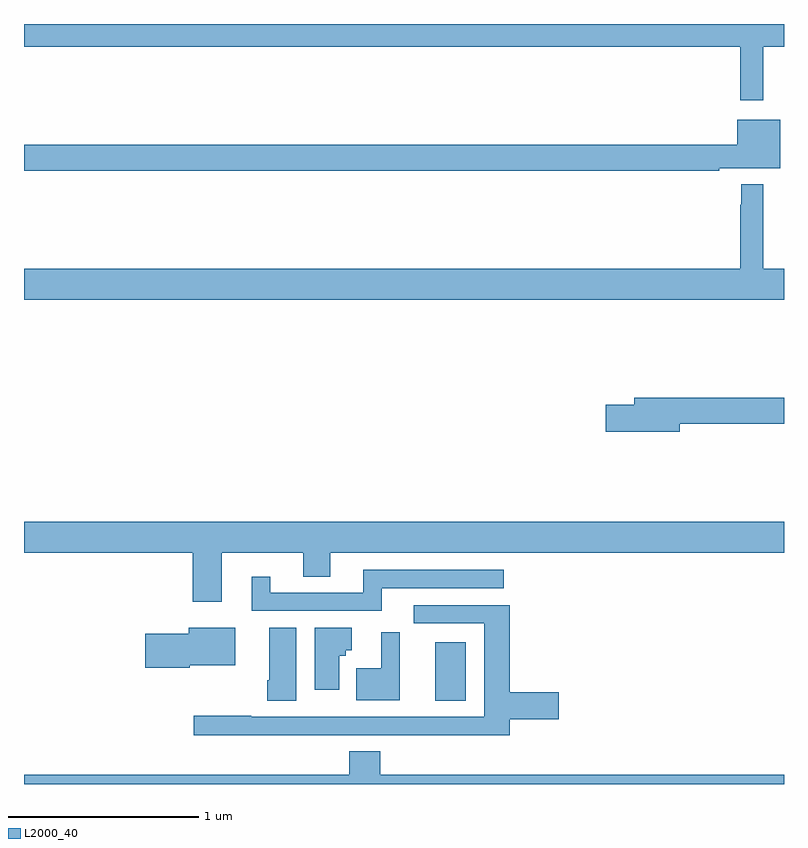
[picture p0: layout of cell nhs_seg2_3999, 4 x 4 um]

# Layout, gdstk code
import gdstk
lib = gdstk.Library(unit=1e-6, precision=1e-09)
def R(c, l, rs):  # rectangles x0, y0, x1, y1
    for r in rs: c.add(gdstk.rectangle(r[:2], r[2:], *l))
def P(c, l, *ps):  # polygons
    for p in ps: c.add(gdstk.Polygon(p, *l))
L2000_40 = (2000, 40)

nhs_seg2_3999 = lib.new_cell('nhs_seg2_3999')
R(nhs_seg2_3999, L2000_40, [(327.164,600.238,327.325,600.547)])
P(nhs_seg2_3999, L2000_40, [(328.891,603.68),(329,603.68),(329,603.8),(325,603.8),(325,603.68),(328.77,603.68),(328.77,603.399),(328.891,603.399)],
  [(328.658,603.041),(328.981,603.041),(328.981,603.295),(328.754,603.295),(328.754,603.164),(325,603.164),(325,603.028),(328.658,603.028)],
  [(329,602.512),(328.891,602.512),(328.891,602.956),(328.776,602.956),(328.776,602.849),(328.77,602.849),(328.77,602.512),(325,602.512),(325,602.348),(329,602.348)],
  [(328.45,601.696),(329,601.696),(329,601.832),(328.211,601.832),(328.211,601.796),(328.062,601.796),(328.062,601.654),(328.45,601.654)],
  [(326.041,601.016),(326.471,601.016),(326.471,600.892),(326.611,600.892),(326.611,601.016),(329,601.016),(329,601.18),(325,601.18),(325,601.016),(325.889,601.016),(325.889,600.759),(326.041,600.759)],
  [(326.884,600.831),(327.526,600.831),(327.526,600.927),(326.786,600.927),(326.786,600.807),(326.296,600.807),(326.296,600.892),(326.198,600.892),(326.198,600.711),(326.884,600.711)],
  [(326.627,600.057),(326.959,600.057),(326.959,600.056),(327.557,600.056),(327.557,600.142),(327.814,600.142),(327.814,600.284),(327.557,600.284),(327.557,600.741),(327.051,600.741),(327.051,600.645),(327.422,600.645),(327.422,600.153),(326.195,600.153),(326.195,600.158),(325.893,600.158),(325.893,600.056),(326.627,600.056)],
  [(326.434,600.622),(326.291,600.622),(326.291,600.346),(326.279,600.346),(326.279,600.238),(326.434,600.238)],
  [(325.872,600.425),(326.113,600.425),(326.113,600.622),(325.868,600.622),(325.868,600.591),(325.638,600.591),(325.638,600.413),(325.872,600.413)],
  [(326.659,600.475),(326.694,600.475),(326.694,600.503),(326.725,600.503),(326.725,600.622),(326.531,600.622),(326.531,600.297),(326.659,600.297)],
  [(326.978,600.598),(326.879,600.598),(326.879,600.408),(326.748,600.408),(326.748,600.242),(326.978,600.242)],
  [(326.876,599.972),(326.711,599.972),(326.711,599.848),(325,599.848),(325,599.8),(329,599.8),(329,599.848),(326.876,599.848)])

lib.write_gds('nhs_seg2_3999.gds')
